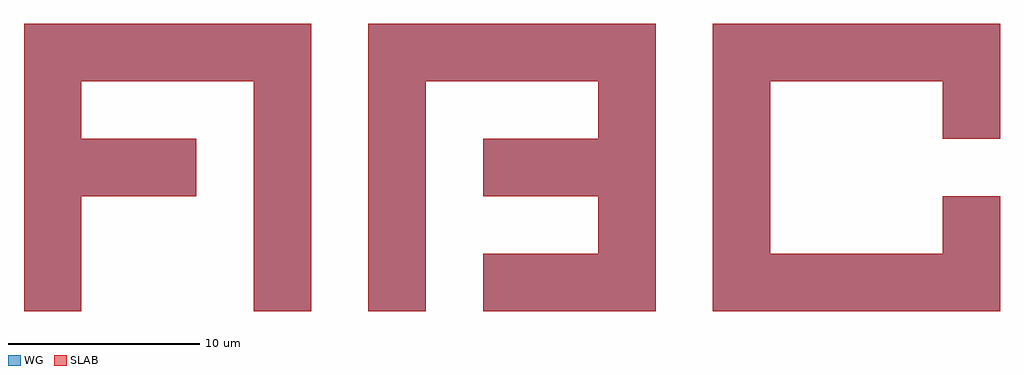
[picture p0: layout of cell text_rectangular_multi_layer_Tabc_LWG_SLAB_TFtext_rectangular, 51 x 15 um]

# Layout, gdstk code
import gdstk
lib = gdstk.Library(unit=1e-6, precision=1e-09)
def P(c, l, *ps):  # polygons
    for p in ps: c.add(gdstk.Polygon(p, *l))
WG = (3, 0)
SLAB = (5, 0)

text_rectangular_tabc_s3 = lib.new_cell('text_rectangular_Tabc_S3_Jleft_LWG')
P(text_rectangular_tabc_s3, WG, [(0,0),(0,15),(15,15),(15,0),(12,0),(12,12),(3,12),(3,9),(9,9),(9,6),(3,6),(3,0)],
  [(18,0),(18,15),(33,15),(33,0),(24,0),(24,3),(30,3),(30,6),(24,6),(24,9),(30,9),(30,12),(21,12),(21,0)],
  [(36,0),(36,15),(51,15),(51,9),(48,9),(48,12),(39,12),(39,3),(48,3),(48,6),(51,6),(51,0)])

c_text_rectangular_tabc_s3 = lib.new_cell('text_rectangular_Tabc_S3_Jleft_LSLAB')
P(c_text_rectangular_tabc_s3, SLAB, [(0,0),(0,15),(15,15),(15,0),(12,0),(12,12),(3,12),(3,9),(9,9),(9,6),(3,6),(3,0)],
  [(18,0),(18,15),(33,15),(33,0),(24,0),(24,3),(30,3),(30,6),(24,6),(24,9),(30,9),(30,12),(21,12),(21,0)],
  [(36,0),(36,15),(51,15),(51,9),(48,9),(48,12),(39,12),(39,3),(48,3),(48,6),(51,6),(51,0)])

text_rectangular_multi_l = lib.new_cell('text_rectangular_multi_layer_Tabc_LWG_SLAB_TFtext_rectangular')
text_rectangular_multi_l.add(gdstk.Reference(text_rectangular_tabc_s3, (0,0)))
text_rectangular_multi_l.add(gdstk.Reference(c_text_rectangular_tabc_s3, (0,0)))

lib.write_gds('text_rectangular_multi_layer_Tabc_LWG_SLAB_TFtext_rectangular.gds')
